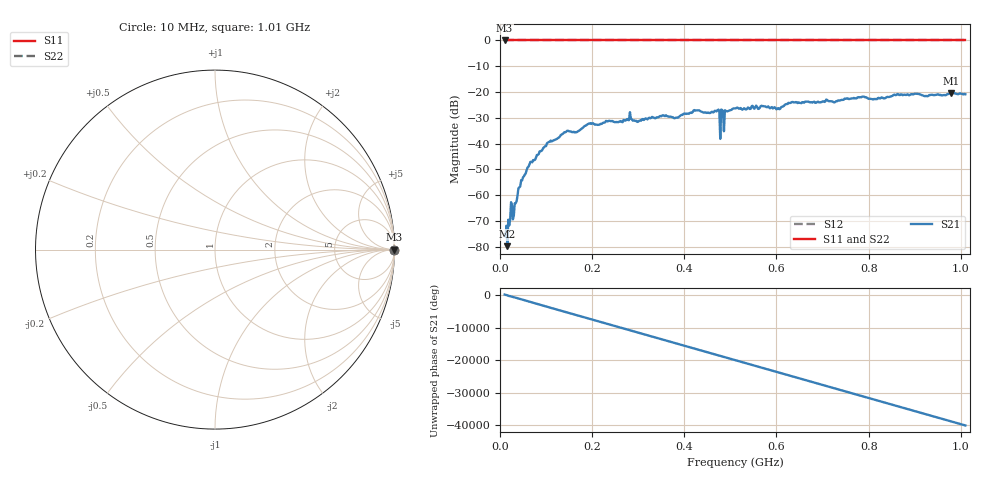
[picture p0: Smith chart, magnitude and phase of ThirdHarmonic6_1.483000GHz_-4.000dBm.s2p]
! 8/16/2025 5:20:19 PM
! C:\ANRITSUVNA\TEMP\TEMP.S2P
! CHANNEL.1
! TR.MEASUREMENT
! RAW.DATA
! RF.CORRECTION.OFF
! AVERAGING.OFF
! IF.BANDWIDTH: 5KHZ
! SWEEPTYPE:  FREQ.SWEEP(Linear)
! Reference Plane Port Info
! PORT:  PORT1  PORT2
! DISTANCE:  0  m  0  m
! TIME:  0  s  0  s
! PHASE.OFFSET:  0  deg.  0  deg.
! LOSS:  0  dB  0  dB
! REF.LOSS:  0  dB  0  dB
! REF.FREQ:  0  Hz  0  Hz
! Power Info
! POWER:  -20  dBm  -20  dBm
! EFF.POWER:  -20  dBm  -20  dBm
! SOURCE.ATTEN:  0  dB  0  dB
! TEST.ATTEN:  0  dB  0  dB
# GHZ S RI R 50.0
! FREQ.GHZ  S11RE  S11IM  S21RE  S21IM  S12RE  S12IM  S22RE  S22IM
!; PortSelection: Port_12
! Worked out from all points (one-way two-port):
!   501 points, 10 MHz to 1.01 GHz, reference 50 ohm
!   highest |S21| = -20.36 dB at 978 MHz (marker M1); lowest = -79.8 dB at 16 MHz (marker M2)
!   lowest |S11| = 0.0 dB at 10 MHz (marker M3)
!   |S11| at or under -10 dB: nowhere
!   |S22| runs from 0.0 to 0.0 dB; largest |S21 - S12| = 1.1
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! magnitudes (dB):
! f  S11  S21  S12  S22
! 10 MHz  0.0  -75.3  0.0  0.0
! 16 MHz  0.0  -79.8  0.0  0.0
! 22 MHz  0.0  -69.6  0.0  0.0
! 32 MHz  0.0  -63.2  0.0  0.0
! 44 MHz  0.0  -56.6  0.0  0.0
! 64 MHz  0.0  -48.0  0.0  0.0
! 106 MHz  0.0  -39.4  0.0  0.0
! 178 MHz  0.0  -34.1  0.0  0.0
! 196 MHz  0.0  -32.1  0.0  0.0
! 344 MHz  0.0  -29.8  0.0  0.0
! 472 MHz  0.0  -27.1  0.0  0.0
! 474 MHz  0.0  -26.8  0.0  0.0
! 482 MHz  0.0  -27.0  0.0  0.0
! 484 MHz  0.0  -27.4  0.0  0.0
! 492 MHz  0.0  -27.5  0.0  0.0
! 510 MHz  0.0  -26.4  0.0  0.0
! 604 MHz  0.0  -26.3  0.0  0.0
! 630 MHz  0.0  -24.2  0.0  0.0
! 678 MHz  0.0  -24.1  0.0  0.0
! 844 MHz  0.0  -21.9  0.0  0.0
! 978 MHz  0.0  -20.4  0.0  0.0
! 1.01 GHz  0.0  -20.9  0.0  0.0
